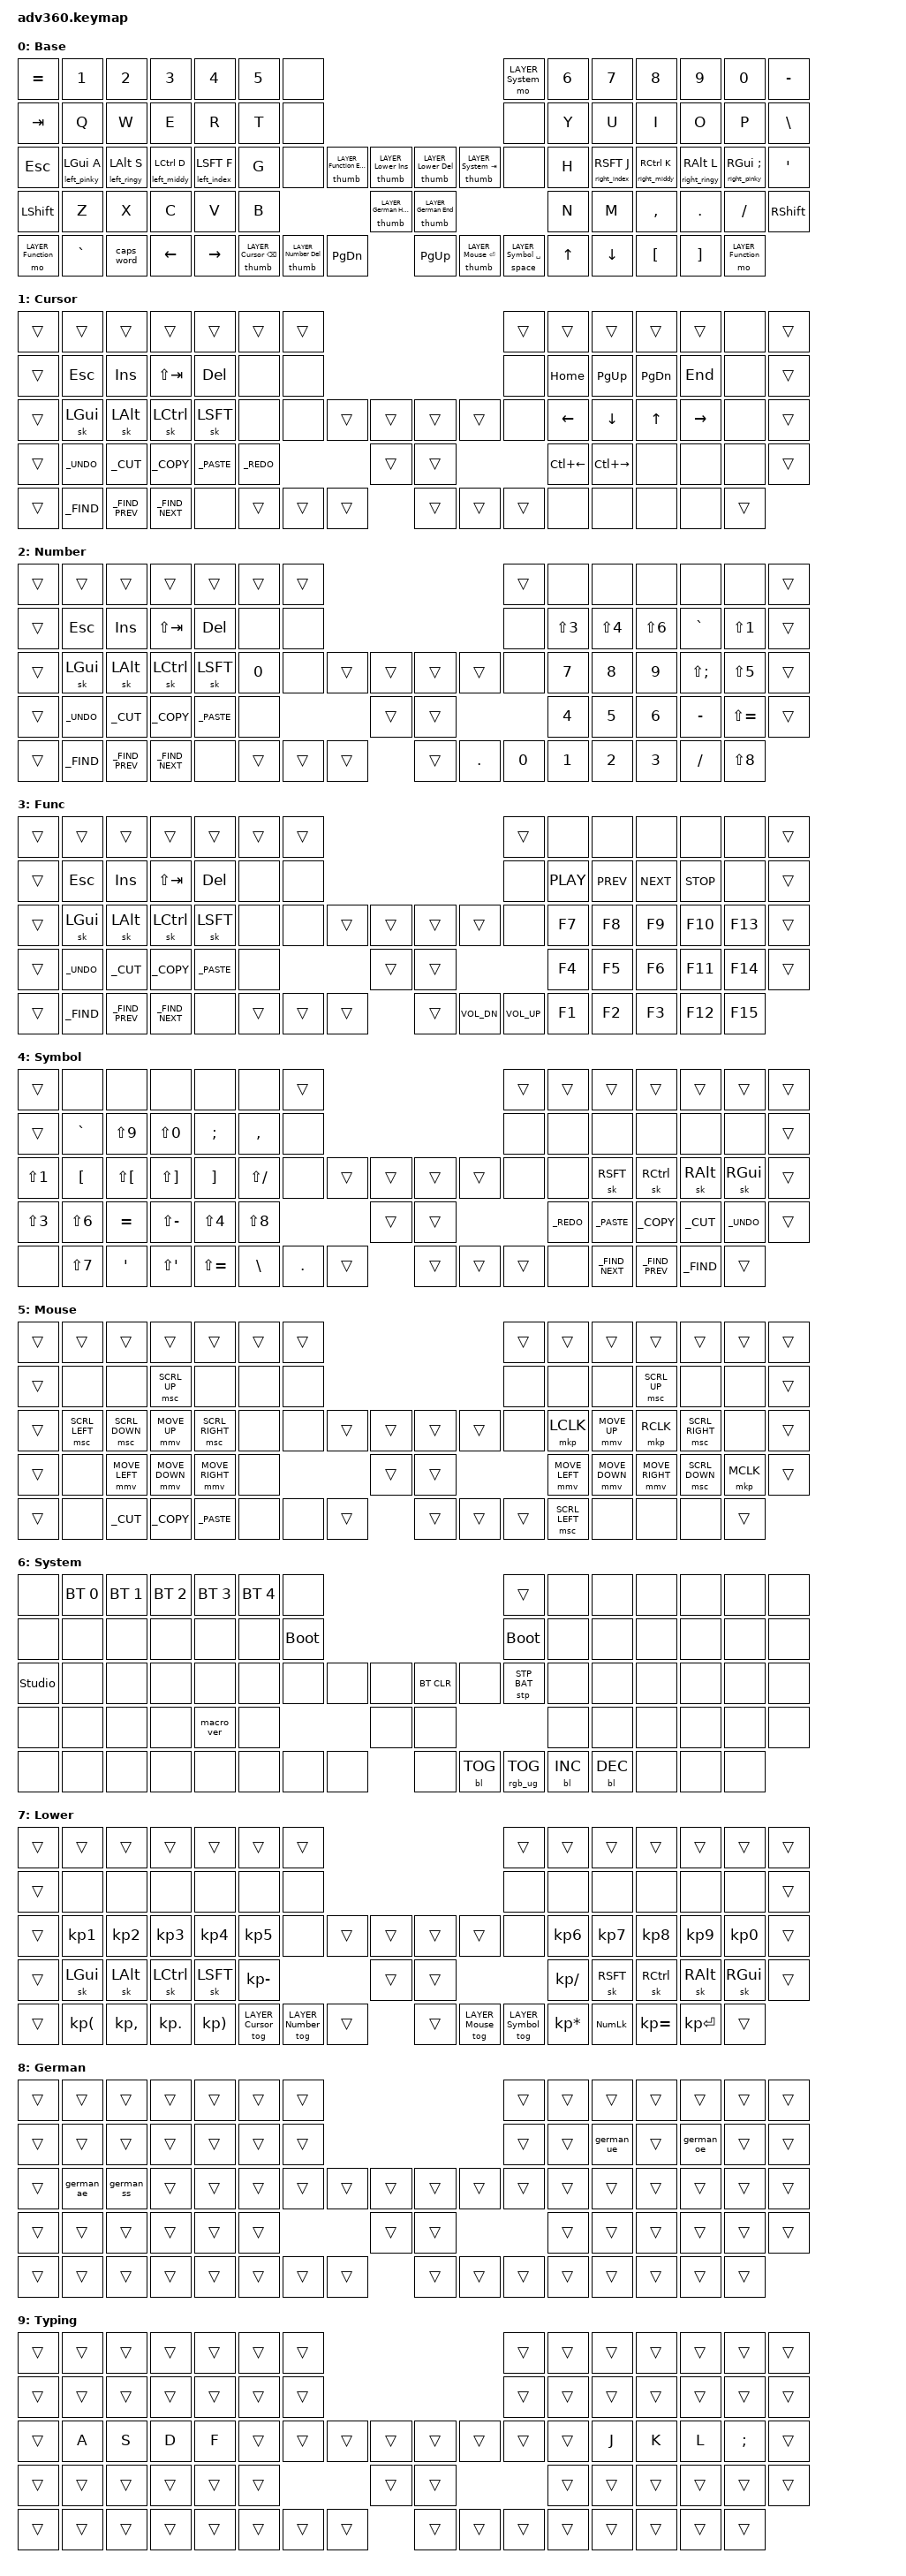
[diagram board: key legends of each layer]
#include <behaviors.dtsi>
#include <dt-bindings/zmk/keys.h>
#include <dt-bindings/zmk/bt.h>
#include <dt-bindings/zmk/rgb.h>
#include <dt-bindings/zmk/stp.h>
#include <dt-bindings/zmk/backlight.h>
#include <dt-bindings/zmk/pointing.h>
#include "engrammer_behaviors.dtsi"

/ {
    behaviors {
      #include "macros.dtsi"
      #include "version.dtsi"

      hm: homerow_mods {
          compatible = "zmk,behavior-hold-tap";
          label = "HOMEROW_MODS";
          #binding-cells = <2>;
          tapping-term-ms = <200>;
          quick_tap_ms = <175>;
          flavor = "tap-preferred";
          bindings = <&kp>, <&kp>;
      };
    };

  // === ENGRAMMER PORT: Combos ===
  // Adapted from sunaku's thumb combos, remapped to Adv360 positions.
  //
  // Adv360 thumb positions:
  //   Left:  35(upper-outer/ESC) 36(upper-inner/INS) 52(mid/HOME)
  //          65(2u/BSPC) 66(2u/DEL) 67(corner/PG_DN)
  //   Right: 38(upper-outer/TAB) 37(upper-inner/DEL) 53(mid/END)
  //          70(2u/SPACE) 69(2u/ENTER) 68(corner/PG_UP)
  //
  combos {
    compatible = "zmk,combos";

    #ifndef COMBO_FIRING_DECAY
    #define COMBO_FIRING_DECAY 50
    #endif

    // --- Sticky Globe (GUI) ---
    // T2+T3 (upper-inner + mid)
    combo_sticky_globe_left {
      timeout-ms = <COMBO_FIRING_DECAY>;
      key-positions = <36 52>;
      bindings = <&sk LGUI>;
      layers = <0 1 2 3 4>;
    };
    combo_sticky_globe_right {
      timeout-ms = <COMBO_FIRING_DECAY>;
      key-positions = <37 53>;
      bindings = <&sk LGUI>;
      layers = <0 1 2 3 4>;
    };

    // --- Sticky AltGr ---
    // T1+T2 (upper-outer + upper-inner)
    combo_sticky_altgr_left {
      timeout-ms = <COMBO_FIRING_DECAY>;
      key-positions = <35 36>;
      bindings = <&sk RALT>;
      layers = <0 1 2 3 4>;
    };
    combo_sticky_altgr_right {
      timeout-ms = <COMBO_FIRING_DECAY>;
      key-positions = <38 37>;
      bindings = <&sk RALT>;
      layers = <0 1 2 3 4>;
    };

    // --- Hyper (Gui+Alt+Ctrl+Shift) ---
    // T1+T4 (upper-outer + 2u-outer)
    // Skipped: alt-tab switcher on left (requires mod_tab_chord macro)
    combo_hyper_right {
      timeout-ms = <COMBO_FIRING_DECAY>;
      key-positions = <38 70>;
      bindings = <&kp LG(LA(LC(LSHFT)))>;
      layers = <0 1 2 3 4>;
    };

    // --- Ctrl+Shift ---
    // T3+T6 (mid + corner)
    combo_ctrl_shift_right {
      timeout-ms = <COMBO_FIRING_DECAY>;
      key-positions = <53 68>;
      bindings = <&kp LC(LSHFT)>;
      layers = <0 1 2 3 4>;
    };

    // --- Meh (Alt+Ctrl+Shift) ---
    // T2+T5 (upper-inner + 2u-inner)
    combo_meh_right {
      timeout-ms = <COMBO_FIRING_DECAY>;
      key-positions = <37 69>;
      bindings = <&kp LA(LC(LSHFT))>;
      layers = <0 1 2 3 4>;
    };

    // --- Sticky Shift ---
    // T1+T5 (upper-outer + 2u-inner)
    combo_sticky_shift_left {
      timeout-ms = <COMBO_FIRING_DECAY>;
      key-positions = <35 66>;
      bindings = <&sticky_key_modtap LSFT LSFT>;
      layers = <0 1 2 3 4 5>;
    };
    combo_sticky_shift_right {
      timeout-ms = <COMBO_FIRING_DECAY>;
      key-positions = <38 69>;
      bindings = <&sticky_key_modtap RSFT RSFT>;
      layers = <0 1 2 3 4 5>;
    };

    // --- Caps Word ---
    // T4+T5 (2u-outer + 2u-inner)
    combo_caps_word_left {
      timeout-ms = <COMBO_FIRING_DECAY>;
      key-positions = <65 66>;
      bindings = <&caps_word>;
      layers = <0 1 2 3 4 5>;
    };
    combo_caps_word_right {
      timeout-ms = <COMBO_FIRING_DECAY>;
      key-positions = <70 69>;
      bindings = <&caps_word>;
      layers = <0 1 2 3 4 5>;
    };

    // --- Caps Lock ---
    // T2+T6 (upper-inner + corner)
    combo_caps_lock_left {
      timeout-ms = <COMBO_FIRING_DECAY>;
      key-positions = <36 67>;
      bindings = <&kp CAPSLOCK>;
      layers = <0 1 2 3 4 5>;
    };
    combo_caps_lock_right {
      timeout-ms = <COMBO_FIRING_DECAY>;
      key-positions = <37 68>;
      bindings = <&kp CAPSLOCK>;
      layers = <0 1 2 3 4 5>;
    };

    // --- Typing Layer (momentary, no home row mods) ---
    // T5+T6 (2u-inner + corner)
    combo_typing_left {
      timeout-ms = <COMBO_FIRING_DECAY>;
      key-positions = <66 67>;
      bindings = <&mo LAYER_Typing>;
      layers = <0 1 2 3 4 5 6 7 8 9>;
    };
    combo_typing_right {
      timeout-ms = <COMBO_FIRING_DECAY>;
      key-positions = <69 68>;
      bindings = <&mo LAYER_Typing>;
      layers = <0 1 2 3 4 5 6 7 8 9>;
    };

    // --- Reset to Base Layer ---
    // T1+T2+T3 (all upper + mid thumb keys)
    combo_base_reset_left {
      timeout-ms = <COMBO_FIRING_DECAY>;
      key-positions = <35 36 52>;
      bindings = <&to 0>;
      layers = <0 1 2 3 4 5 6 7 8 9>;
    };
    combo_base_reset_right {
      timeout-ms = <COMBO_FIRING_DECAY>;
      key-positions = <38 37 53>;
      bindings = <&to 0>;
      layers = <0 1 2 3 4 5 6 7 8 9>;
    };
  };

  keymap {
    compatible = "zmk,keymap";

    // === ENGRAMMER PORT: Layer 0 — Base (QWERTY + Home Row Mods, GACS) ===
    default_layer {
      display-name = "Base";
      bindings = <
        &kp EQUAL &kp N1 &kp N2 &kp N3 &kp N4 &kp N5 &none                                                                                                                              &mo LAYER_System &kp N6 &kp N7 &kp N8    &kp N9   &kp N0         &kp MINUS
        &kp TAB   &kp Q  &kp W  &kp E  &kp R  &kp T  &none                                                                                                                              &none            &kp Y  &kp U  &kp I     &kp O    &kp P          &kp BSLH
        &kp ESC   &left_pinky LGUI A &left_ringy LALT S &left_middy LCTRL D &left_index LSFT F &kp G &none  &thumb LAYER_Function ESC &thumb LAYER_Lower INS  &thumb LAYER_Lower DEL &thumb LAYER_System TAB  &none  &kp H  &right_index RSFT J &right_middy RCTRL K &right_ringy RALT L &right_pinky RGUI SEMI &kp SQT
        &kp LSHFT &kp Z  &kp X  &kp C  &kp V  &kp B                                                        &thumb LAYER_German HOME &thumb LAYER_German END                                                       &kp N  &kp M     &kp COMMA &kp DOT &kp FSLH   &kp RSHFT
        &mo LAYER_Function &kp GRAVE &caps_word &kp LEFT &kp RIGHT              &thumb LAYER_Cursor BSPC &thumb LAYER_Number DEL &kp PG_DN  &kp PG_UP &thumb LAYER_Mouse ENTER &space LAYER_Symbol SPACE              &kp UP &kp DOWN  &kp LBKT &kp RBKT &mo LAYER_Function
      >;
    };

    // === ENGRAMMER PORT: Layer 1 — Cursor (vim-style HJKL) ===
    // Left hand: sticky mods + editing commands
    // Right hand: vim arrows, page nav, word nav
    cursor_layer {
      display-name = "Cursor";
      bindings = <
        &trans &trans    &trans         &trans         &trans     &trans &trans                                                                    &trans &trans      &trans       &trans    &trans       &none  &trans
        &trans &kp ESC  &kp INS        &kp LS(TAB)    &kp DEL   &none  &none                                                                    &none  &kp HOME   &kp PG_UP    &kp PG_DN &kp END      &none  &trans
        &trans &sk LGUI &sk LALT       &sk LCTRL      &sk LSFT  &none  &none          &trans &trans &trans &trans                                &none  &kp LEFT   &kp DOWN     &kp UP    &kp RIGHT    &none  &trans
        &trans &kp _UNDO &kp _CUT     &kp _COPY      &kp _PASTE &kp _REDO                   &trans &trans                                              &kp LC(LEFT) &kp LC(RIGHT) &none  &none        &none  &trans
        &trans &kp _FIND &kp _FIND_PREV &kp _FIND_NEXT &none                  &trans &trans &trans &trans &trans &trans                                  &none      &none        &none     &none        &trans
      >;
    };

    // === ENGRAMMER PORT: Layer 2 — Number (numpad on right hand) ===
    // Left hand: sticky mods + editing commands (same as cursor)
    // Right hand: numpad + symbols
    number_layer {
      display-name = "Number";
      bindings = <
        &trans &trans    &trans         &trans         &trans     &trans &trans                                                                    &trans &none       &none      &none      &none        &none        &trans
        &trans &kp ESC  &kp INS        &kp LS(TAB)    &kp DEL   &none  &none                                                                    &none  &kp LS(N3) &kp LS(N4) &kp LS(N6) &kp GRAVE    &kp LS(N1)   &trans
        &trans &sk LGUI &sk LALT       &sk LCTRL      &sk LSFT  &kp N0 &none          &trans &trans &trans &trans                                &none  &kp N7     &kp N8     &kp N9     &kp LS(SEMI) &kp LS(N5)   &trans
        &trans &kp _UNDO &kp _CUT     &kp _COPY      &kp _PASTE &none                       &trans &trans                                              &kp N4     &kp N5     &kp N6     &kp MINUS    &kp LS(EQUAL) &trans
        &trans &kp _FIND &kp _FIND_PREV &kp _FIND_NEXT &none                  &trans &trans &trans &trans &kp DOT &kp N0                                &kp N1     &kp N2     &kp N3     &kp FSLH     &kp LS(N8)
      >;
    };

    // === ENGRAMMER PORT: Layer 3 — Function (F-keys + media) ===
    // Left hand: sticky mods + editing commands
    // Right hand: F-keys (3x4 grid) + media controls
    function_layer {
      display-name = "Func";
      bindings = <
        &trans &trans    &trans         &trans         &trans     &trans    &trans                                                                       &trans &none        &none        &none        &none        &none        &trans
        &trans &kp ESC  &kp INS        &kp LS(TAB)    &kp DEL   &none     &none                                                                       &none  &kp C_PLAY  &kp C_PREV   &kp C_NEXT   &kp C_STOP   &none        &trans
        &trans &sk LGUI &sk LALT       &sk LCTRL      &sk LSFT  &none     &none          &trans &trans &trans &trans                                   &none  &kp F7       &kp F8       &kp F9       &kp F10      &kp F13      &trans
        &trans &kp _UNDO &kp _CUT     &kp _COPY      &kp _PASTE &none                          &trans &trans                                                 &kp F4       &kp F5       &kp F6       &kp F11      &kp F14      &trans
        &trans &kp _FIND &kp _FIND_PREV &kp _FIND_NEXT &none                  &trans &trans &trans &trans &kp C_VOL_DN &kp C_VOL_UP                           &kp F1       &kp F2       &kp F3       &kp F12      &kp F15
      >;
    };

    // === ENGRAMMER PORT: Layer 4 — Symbol (activated by right thumb SPACE) ===
    // Left hand: symbols (mirrors sunaku's layout)
    // Right hand: sticky mods + editing commands
    symbol_layer {
      display-name = "Symbol";
      bindings = <
        &trans      &none        &none        &none          &none         &none      &trans                                                                       &trans &trans    &trans         &trans         &trans     &trans    &trans
        &trans      &kp GRAVE    &kp LS(N9)   &kp LS(N0)    &kp SEMI      &kp COMMA  &none                                                                       &none  &none     &none          &none          &none      &none     &trans
        &kp LS(N1)  &kp LBKT     &kp LS(LBKT) &kp LS(RBKT)  &kp RBKT      &kp LS(FSLH) &none    &trans &trans &trans &trans                                      &none  &none     &sk RSFT       &sk RCTRL      &sk RALT   &sk RGUI  &trans
        &kp LS(N3)  &kp LS(N6)   &kp EQUAL    &kp LS(MINUS) &kp LS(N4)    &kp LS(N8)                   &trans &trans                                                    &kp _REDO &kp _PASTE     &kp _COPY      &kp _CUT   &kp _UNDO &trans
        &none       &kp LS(N7)   &kp SQT      &kp LS(SQT)   &kp LS(EQUAL)            &kp BSLH &kp DOT &trans &trans &trans &trans                                        &none     &kp _FIND_NEXT &kp _FIND_PREV &kp _FIND  &trans
      >;
    };

    // === ENGRAMMER PORT: Layer 5 — Mouse (activated by right thumb ENTER) ===
    // Left hand: scroll + clipboard
    // Right hand: mouse movement + clicks
    // NOTE: Requires ENABLE_MOUSE_KEYS / HID_POINTING override to "y"
    // TODO: verify mouse keys compile with Kinesis fork
    mouse_layer {
      display-name = "Mouse";
      bindings = <
        &trans &trans              &trans             &trans           &trans              &trans &trans                                                                                  &trans &trans          &trans         &trans           &trans              &trans   &trans
        &trans &none               &none              &msc SCRL_UP    &none               &none  &none                                                                                  &none  &none          &none          &msc SCRL_UP     &none               &none    &trans
        &trans &msc SCRL_LEFT      &msc SCRL_DOWN     &mmv MOVE_UP    &msc SCRL_RIGHT     &none  &none       &trans &trans &trans &trans                                                &none  &mkp LCLK      &mmv MOVE_UP   &mkp RCLK        &msc SCRL_RIGHT     &none    &trans
        &trans &none               &mmv MOVE_LEFT     &mmv MOVE_DOWN  &mmv MOVE_RIGHT     &none                     &trans &trans                                                             &mmv MOVE_LEFT &mmv MOVE_DOWN &mmv MOVE_RIGHT  &msc SCRL_DOWN      &mkp MCLK &trans
        &trans &none               &kp _CUT           &kp _COPY       &kp _PASTE                &none &none &trans &trans &trans &trans                                                        &msc SCRL_LEFT &none          &none            &none               &trans
      >;
    };

    // === ENGRAMMER PORT: Layer 6 — System (BT, bootloader, media, backlight) ===
    // Adapted from original Mod layer
    system_layer {
      display-name = "System";
      bindings = <
        &none &bt BT_SEL 0 &bt BT_SEL 1 &bt BT_SEL 2 &bt BT_SEL 3 &bt BT_SEL 4 &none                                                                  &trans         &none        &none        &none        &none &none &none
        &none &none         &none         &none         &none         &none         &bootloader                                                            &bootloader    &none        &none        &none        &none &none &none
        &studio_unlock &none &none        &none         &none         &none         &none          &none &none &bt BT_CLR &none                            &stp STP_BAT   &none        &none        &none        &none &none &none
        &none &none         &none         &none         &macro_ver    &none                              &none &none                                                      &none        &none        &none        &none &none &none
        &none &none         &none         &none         &none                             &none &none &none    &none      &bl BL_TOG &rgb_ug RGB_TOG                       &bl BL_INC   &bl BL_DEC   &none        &none &none
      >;
    };

    // === ENGRAMMER PORT: Layer 7 — Lower (utility, activated by either thumb INS/DEL) ===
    // Keypad numbers, sticky mods, layer toggles
    lower_layer {
      display-name = "Lower";
      bindings = <
        &trans &trans       &trans       &trans       &trans       &trans        &trans                                                                                                      &trans &trans            &trans            &trans            &trans            &trans &trans
        &trans &none        &none        &none        &none        &none         &none                                                                                                      &none  &none             &none             &none             &none             &none  &trans
        &trans &kp KP_N1   &kp KP_N2    &kp KP_N3    &kp KP_N4   &kp KP_N5     &none          &trans &trans &trans &trans                                                                 &none  &kp KP_N6         &kp KP_N7         &kp KP_N8         &kp KP_N9         &kp KP_N0 &trans
        &trans &sk LGUI    &sk LALT     &sk LCTRL    &sk LSFT    &kp KP_MINUS                        &trans &trans                                                                               &kp KP_SLASH      &sk RSFT          &sk RCTRL         &sk RALT          &sk RGUI &trans
        &trans &kp KP_LPAR &kp KP_COMMA &kp KP_DOT  &kp KP_RPAR              &tog LAYER_Cursor &tog LAYER_Number &trans &trans &tog LAYER_Mouse &tog LAYER_Symbol                     &kp KP_MULTIPLY   &kp KP_NUM        &kp KP_EQUAL      &kp KP_ENTER     &trans
      >;
    };

    // === ENGRAMMER PORT: Layer 8 — German (umlauts: ä ö ü ß on A O U S positions) ===
    german_layer {
      display-name = "German";
      bindings = <
        &trans &trans &trans &trans &trans &trans &trans                                                 &trans &trans &trans &trans &trans &trans &trans
        &trans &trans &trans &trans &trans &trans &trans                                                 &trans &trans &german_ue &trans &german_oe &trans &trans
        &trans &german_ae &german_ss &trans &trans &trans &trans        &trans &trans &trans &trans      &trans &trans &trans &trans &trans &trans &trans
        &trans &trans &trans &trans &trans &trans                      &trans &trans                            &trans &trans &trans &trans &trans &trans
        &trans &trans &trans &trans &trans               &trans &trans &trans &trans &trans &trans              &trans &trans &trans &trans &trans
      >;
    };

    // === ENGRAMMER PORT: Layer 9 — Typing (no home row mods, pure QWERTY) ===
    typing_layer {
      display-name = "Typing";
      bindings = <
        &trans    &trans &trans &trans &trans &trans &trans                                                 &trans &trans &trans &trans &trans &trans &trans
        &trans    &trans &trans &trans &trans &trans &trans                                                 &trans &trans &trans &trans &trans &trans &trans
        &trans    &kp A  &kp S  &kp D  &kp F  &trans &trans        &trans &trans &trans &trans             &trans &trans &kp J  &kp K  &kp L  &kp SEMI &trans
        &trans    &trans &trans &trans &trans &trans                      &trans &trans                            &trans &trans &trans &trans &trans &trans
        &trans    &trans &trans &trans &trans               &trans &trans &trans &trans &trans &trans              &trans &trans &trans &trans &trans
      >;
    };

    // =========================================================================
    // ORIGINAL LAYERS (commented out as fallback)
    // =========================================================================
    //
    // --- Original Layer 0: Base (QWERTY) ---
    // original_default_layer {
    //   display-name = "Base";
    //   bindings = <
    //     &kp EQUAL &kp N1    &kp N2   &kp N3   &kp N4     &kp N5 &tog 1                                                           &mo 3 &kp N6 &kp N7 &kp N8    &kp N9   &kp N0   &kp MINUS
    //     &kp TAB   &kp Q     &kp W    &kp E    &kp R      &kp T  &none                                                            &none &kp Y  &kp U  &kp I     &kp O    &kp P    &kp BSLH
    //     &kp ESC   &kp A     &kp S    &kp D    &kp F      &kp G  &none           &kp LCTRL &kp LALT &kp LGUI  &kp RCTRL           &none &kp H  &kp J  &kp K     &kp L    &kp SEMI &kp SQT
    //     &kp LSHFT &kp Z     &kp X    &kp C    &kp V      &kp B                            &kp HOME &kp PG_UP                           &kp N  &kp M  &kp COMMA &kp DOT  &kp FSLH &kp RSHFT
    //     &mo 2     &kp GRAVE &kp CAPS &kp LEFT &kp RIGHT                &kp BSPC &kp DEL   &kp END  &kp PG_DN &kp ENTER &kp SPACE              &kp UP &kp DOWN  &kp LBKT &kp RBKT &mo 2
    //   >;
    // };
    //
    // --- Original Layer 1: Keypad ---
    // original_keypad {
    //   display-name = "Kp";
    //   bindings = <
    //     &kp EQUAL &kp N1    &kp N2   &kp N3   &kp N4     &kp N5 &trans                                                           &mo 3 &kp N6 &kp KP_NUM &kp KP_EQUAL &kp KP_DIVIDE &kp KP_MULTIPLY &kp MINUS
    //     &kp TAB   &kp Q     &kp W    &kp E    &kp R      &kp T  &none                                                            &none &kp Y  &kp KP_N7  &kp KP_N8    &kp KP_N9     &kp KP_MINUS    &kp BSLH
    //     &kp ESC   &kp A     &kp S    &kp D    &kp F      &kp G  &none           &kp LCTRL &kp LALT &kp LGUI  &kp RCTRL           &none &kp H  &kp KP_N4  &kp KP_N5    &kp KP_N6     &kp KP_PLUS     &kp SQT
    //     &kp LSHFT &kp Z     &kp X    &kp C    &kp V      &kp B                            &kp HOME &kp PG_UP                           &kp N  &kp KP_N1  &kp KP_N2    &kp KP_N3     &kp KP_ENTER    &kp RSHFT
    //     &mo 2     &kp GRAVE &kp CAPS &kp LEFT &kp RIGHT                &kp BSPC &kp DEL   &kp END  &kp PG_DN &kp ENTER &kp KP_N0              &kp UP     &kp DOWN     &kp KP_DOT    &kp RBKT        &mo 2
    //   >;
    // };
    //
    // --- Original Layer 2: Fn ---
    // original_fn {
    //   display-name = "Fn";
    //   bindings = <
    //     &kp F1 &kp F2 &kp F3 &kp F4 &kp F5 &kp F6 &tog 1                                           &mo 3 &kp F7 &kp F8 &kp F9 &kp F10 &kp F11 &kp F12
    //     &trans &trans &trans &trans &trans &trans  &none                                           &none &trans &trans &trans &trans  &trans  &trans
    //     &trans &trans &trans &trans &trans &trans  &none        &trans &trans &trans &trans        &none &trans &trans &trans &trans  &trans  &trans
    //     &trans &trans &trans &trans &trans &trans                      &trans &trans                     &trans &trans &trans &trans  &trans  &trans
    //     &trans &trans &trans &trans &trans               &trans &trans &trans &trans &trans &trans              &trans &trans &trans  &trans  &trans
    //   >;
    // };
    //
    // --- Original Layer 3: Mod ---
    // original_mod {
    //   display-name = "Mod";
    //   bindings = <
    //     &none &bt BT_SEL 0 &bt BT_SEL 1 &bt BT_SEL 2 &bt BT_SEL 3 &bt BT_SEL 4 &none                                                                     &trans                 &none        &none        &none        &none &none &none
    //     &none &none        &none        &none        &none        &none        &bootloader                                                               &bootloader            &none        &none        &none        &none &none &none
    //     &studio_unlock &none &none      &none        &none        &none        &none                   &none &none &bt BT_CLR &none                      &stp STP_BAT &none        &none        &none        &none &none &none
    //     &none &none        &none        &none        &macro_ver   &none                                      &none &none                                                        &none        &none        &none        &none &none &none
    //     &none &none        &none        &none        &none                                       &none &none &none &none      &bl BL_TOG &rgb_ug RGB_TOG                                     &bl BL_INC   &bl BL_DEC   &none &none &none
    //   >;
    // };

  };
};
